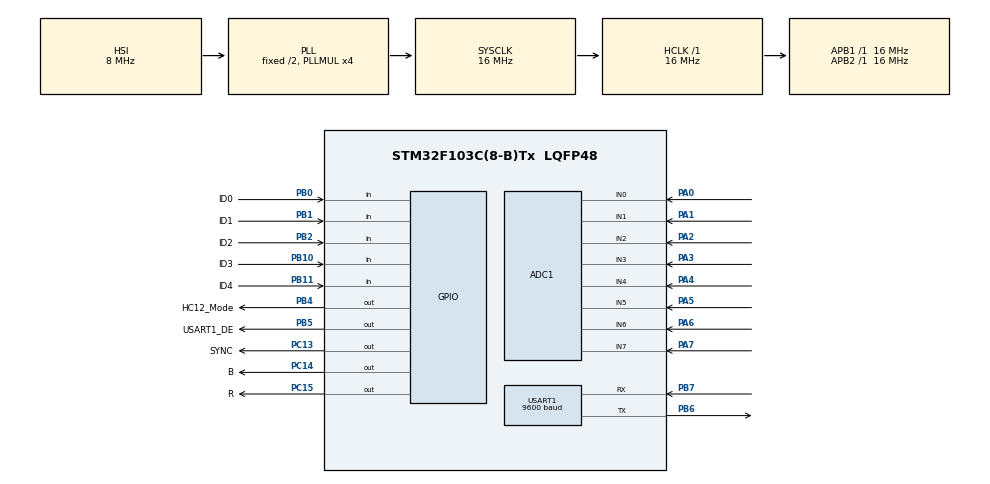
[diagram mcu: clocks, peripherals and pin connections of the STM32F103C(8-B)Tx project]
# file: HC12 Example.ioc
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ADC1.Channel-0\#ChannelRegularConversion=ADC_CHANNEL_0
ADC1.Channel-1\#ChannelRegularConversion=ADC_CHANNEL_1
ADC1.Channel-2\#ChannelRegularConversion=ADC_CHANNEL_2
ADC1.Channel-3\#ChannelRegularConversion=ADC_CHANNEL_3
ADC1.Channel-4\#ChannelRegularConversion=ADC_CHANNEL_4
ADC1.Channel-5\#ChannelRegularConversion=ADC_CHANNEL_5
ADC1.Channel-6\#ChannelRegularConversion=ADC_CHANNEL_6
ADC1.Channel-7\#ChannelRegularConversion=ADC_CHANNEL_7
ADC1.Channel-8\#ChannelRegularConversion=ADC_CHANNEL_TEMPSENSOR
ADC1.Channel-9\#ChannelRegularConversion=ADC_CHANNEL_VREFINT
ADC1.ExternalTrigConv=ADC_EXTERNALTRIGCONV_T3_TRGO
ADC1.NbrOfConversion=10
ADC1.NbrOfConversionFlag=1
ADC1.Rank-0\#ChannelRegularConversion=1
ADC1.Rank-1\#ChannelRegularConversion=2
ADC1.Rank-2\#ChannelRegularConversion=3
ADC1.Rank-3\#ChannelRegularConversion=4
ADC1.Rank-4\#ChannelRegularConversion=5
ADC1.Rank-5\#ChannelRegularConversion=6
ADC1.Rank-6\#ChannelRegularConversion=7
ADC1.Rank-7\#ChannelRegularConversion=8
ADC1.Rank-8\#ChannelRegularConversion=9
ADC1.Rank-9\#ChannelRegularConversion=10
ADC1.SamplingTime-0\#ChannelRegularConversion=ADC_SAMPLETIME_55CYCLES_5
ADC1.SamplingTime-1\#ChannelRegularConversion=ADC_SAMPLETIME_55CYCLES_5
ADC1.SamplingTime-2\#ChannelRegularConversion=ADC_SAMPLETIME_55CYCLES_5
ADC1.SamplingTime-3\#ChannelRegularConversion=ADC_SAMPLETIME_55CYCLES_5
ADC1.SamplingTime-4\#ChannelRegularConversion=ADC_SAMPLETIME_55CYCLES_5
ADC1.SamplingTime-5\#ChannelRegularConversion=ADC_SAMPLETIME_55CYCLES_5
ADC1.SamplingTime-6\#ChannelRegularConversion=ADC_SAMPLETIME_55CYCLES_5
ADC1.SamplingTime-7\#ChannelRegularConversion=ADC_SAMPLETIME_55CYCLES_5
ADC1.SamplingTime-8\#ChannelRegularConversion=ADC_SAMPLETIME_71CYCLES_5
ADC1.SamplingTime-9\#ChannelRegularConversion=ADC_SAMPLETIME_71CYCLES_5
ADC1.master=1
Dma.ADC1.0.Direction=DMA_PERIPH_TO_MEMORY
Dma.ADC1.0.Instance=DMA1_Channel1
Dma.ADC1.0.MemDataAlignment=DMA_MDATAALIGN_HALFWORD
Dma.ADC1.0.MemInc=DMA_MINC_ENABLE
Dma.ADC1.0.Mode=DMA_CIRCULAR
Dma.ADC1.0.PeriphDataAlignment=DMA_PDATAALIGN_HALFWORD
Dma.ADC1.0.PeriphInc=DMA_PINC_DISABLE
Dma.ADC1.0.Priority=DMA_PRIORITY_LOW
Dma.Request0=ADC1
Mcu.Family=STM32F1
Mcu.Name=STM32F103C(8-B)Tx
Mcu.Package=LQFP48
NVIC.DMA1_Channel1_IRQn=true\:6\:0\:true\:false\:true\:false\:true\:true
NVIC.PriorityGroup=NVIC_PRIORITYGROUP_4
NVIC.USART1_IRQn=true\:6\:0\:true\:false\:true\:true\:true\:true
PA0-WKUP.Signal=ADCx_IN0
PA1.Signal=ADCx_IN1
PA13.Mode=Serial_Wire
PA13.Signal=SYS_JTMS-SWDIO
PA14.Mode=Serial_Wire
PA14.Signal=SYS_JTCK-SWCLK
PA2.Signal=ADCx_IN2
PA3.Signal=ADCx_IN3
PA4.Signal=ADCx_IN4
PA5.Signal=ADCx_IN5
PA6.Signal=ADCx_IN6
PA7.Signal=ADCx_IN7
PB0.GPIO_Label=ID0
PB0.GPIO_PuPd=GPIO_PULLUP
PB0.Signal=GPIO_Input
PB1.GPIO_Label=ID1
PB1.GPIO_PuPd=GPIO_PULLUP
PB1.Signal=GPIO_Input
PB10.GPIO_Label=ID3
PB10.GPIO_PuPd=GPIO_PULLUP
PB10.Signal=GPIO_Input
PB11.GPIO_Label=ID4
PB11.GPIO_PuPd=GPIO_PULLUP
PB11.Signal=GPIO_Input
PB2.GPIO_Label=ID2
PB2.GPIO_PuPd=GPIO_PULLUP
PB2.Signal=GPIO_Input
PB4.GPIO_Label=HC12_Mode
PB4.Signal=GPIO_Output
PB5.GPIO_Label=USART1_DE
PB5.Signal=GPIO_Output
PB6.Mode=Asynchronous
PB6.Signal=USART1_TX
PB7.Mode=Asynchronous
PB7.Signal=USART1_RX
PC13-TAMPER-RTC.GPIO_Label=SYNC
PC13-TAMPER-RTC.Signal=GPIO_Output
PC14-OSC32_IN.GPIO_Label=B
PC14-OSC32_IN.Signal=GPIO_Output
PC15-OSC32_OUT.GPIO_Label=R
PC15-OSC32_OUT.Signal=GPIO_Output
PD0-OSC_IN.Mode=HSE-External-Oscillator
PD0-OSC_IN.Signal=RCC_OSC_IN
PD1-OSC_OUT.Mode=HSE-External-Oscillator
PD1-OSC_OUT.Signal=RCC_OSC_OUT
ProjectManager.HeapSize=0x200
ProjectManager.StackSize=0x400
ProjectManager.TargetToolchain=MDK-ARM V5.32
RCC.AHBFreq_Value=16000000
RCC.APB1Freq_Value=16000000
RCC.APB1TimFreq_Value=16000000
RCC.APB2Freq_Value=16000000
RCC.APB2TimFreq_Value=16000000
RCC.HCLKFreq_Value=16000000
RCC.PLLMUL=RCC_PLL_MUL4
RCC.SYSCLKFreq_VALUE=16000000
RCC.SYSCLKSource=RCC_SYSCLKSOURCE_PLLCLK
RCC.USBFreq_Value=16000000
SH.ADCx_IN0.0=ADC1_IN0,IN0
SH.ADCx_IN1.0=ADC1_IN1,IN1
SH.ADCx_IN2.0=ADC1_IN2,IN2
SH.ADCx_IN3.0=ADC1_IN3,IN3
SH.ADCx_IN4.0=ADC1_IN4,IN4
SH.ADCx_IN5.0=ADC1_IN5,IN5
SH.ADCx_IN6.0=ADC1_IN6,IN6
SH.ADCx_IN7.0=ADC1_IN7,IN7
TIM3.Period=10-1
TIM3.Prescaler=16000-1
TIM3.TIM_MasterOutputTrigger=TIM_TRGO_UPDATE
USART1.BaudRate=9600
USART1.VirtualMode=VM_ASYNC
VP_ADC1_TempSens_Input.Mode=IN-TempSens
VP_ADC1_Vref_Input.Mode=IN-Vrefint
VP_TIM3_VS_ClockSourceINT.Mode=Internal
board=custom

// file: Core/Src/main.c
/* USER CODE BEGIN Header */
/**
  ******************************************************************************
  * @file           : main.c
  * @brief          : Main program body
  ******************************************************************************
  * @attention
  *
  * Copyright (c) 2024 STMicroelectronics.
  * All rights reserved.
  *
  * This software is licensed under terms that can be found in the LICENSE file
  * in the root directory of this software component.
  * If no LICENSE file comes with this software, it is provided AS-IS.
  *
  ******************************************************************************
  */
/* USER CODE END Header */
#include "main.h"
#include "adc.h"
#include "dma.h"
#include "tim.h"
#include "usart.h"
#include "gpio.h"

/* USER CODE BEGIN Includes */
#include "config.h"
#include "hc12.h"
#define connFilter 	100
#define btnFilterH 	25
#define btnFilterL 	0
//extern DMA_HandleTypeDef hdma_usart1_rx;
//extern DMA_HandleTypeDef hdma_usart1_tx;
extern UART_HandleTypeDef huart1;

HC12_HandleTypeDef hhc12;

/* USER CODE END Includes */

/* USER CODE BEGIN PTD */
uint16_t adcData[10] = {0,};
volatile message recieve;
volatile message trancieve = {0x01, 0x00, 0x01, 0x00, 0x00, 0x00};
id myID = {0,};
volatile uint8_t newMessage = 0;

uint8_t checkSum = 0;
float VDC = 0;
uint16_t TEMP = 0;

uint8_t ADC_ConvCpltFlag = FALSE;
uint8_t mustSendDataHandle = FALSE;

buttonStateTypeDef stateBtn[8] = {
	UNDEFINE,UNDEFINE,UNDEFINE,UNDEFINE,
	UNDEFINE,UNDEFINE,UNDEFINE,UNDEFINE
};

uint8_t ctrPress[8] = {0,};
uint8_t ctrConnect[8] = {0,};
uint8_t changeBtnState[8] = {0,};
buttonStateTypeDef bufferTransmit[8] = {0,};

/* USER CODE END PTD */

/* USER CODE BEGIN PD */
HC12_StatusTypeDef stausHC12;
uint16_t timeDelayHC12 = 100;
/* USER CODE END PD */

void SystemClock_Config(void);

int main(void)
{
  /* USER CODE BEGIN 1 */
	hhc12.baudRate = B115200;
	hhc12.chanal = C001;
	hhc12.mode = FU3;
	hhc12.power = P20db;

  /* USER CODE END 1 */

  /* MCU Configuration--------------------------------------------------------*/

  /* Reset of all peripherals, Initializes the Flash interface and the Systick. */
  HAL_Init();

  /* Configure the system clock */
  SystemClock_Config();

  /* Initialize all configured peripherals */
  MX_GPIO_Init();
  MX_DMA_Init();
  MX_ADC1_Init();
  MX_TIM3_Init();
  MX_USART1_UART_Init();
  /* USER CODE BEGIN 2 */

	HAL_GPIO_WritePin(USART1_DE_GPIO_Port,USART1_DE_Pin, GPIO_PIN_SET);
	stausHC12 = HC12_Init(&hhc12, &huart1, HC12_Mode_GPIO_Port, HC12_Mode_Pin);
	stausHC12 = HC12_SetEnergyMode(&hhc12, SLEEP, timeDelayHC12);

	//HC12_Init(&hhc12, );

	HAL_ADC_Start_DMA(&hadc1, (uint32_t*)adcData, 10);

	HAL_TIM_Base_Start(&htim3);

	HAL_UARTEx_ReceiveToIdle_IT(&huart1, (uint8_t*)&recieve, sizeof(recieve));
	//__HAL_DMA_DISABLE_IT(&huart1,DMA_IT_HT);

	myID.value.bit0 = !HAL_GPIO_ReadPin(ID0_GPIO_Port, ID0_Pin);
	myID.value.bit1 = !HAL_GPIO_ReadPin(ID1_GPIO_Port, ID1_Pin);
	myID.value.bit2 = !HAL_GPIO_ReadPin(ID2_GPIO_Port, ID2_Pin);
	myID.value.bit3 = !HAL_GPIO_ReadPin(ID3_GPIO_Port, ID3_Pin);
	myID.value.bit4 = !HAL_GPIO_ReadPin(ID4_GPIO_Port, ID4_Pin);
	myID.full == 0  ?  HAL_GPIO_WritePin(R_GPIO_Port,R_Pin,GPIO_PIN_SET) : \
										 HAL_GPIO_WritePin(B_GPIO_Port,B_Pin,GPIO_PIN_SET);
	myID.full == 0  ? myID.full = 1 : myID.full;
	//HAL_GPIO_WritePin(USART1_DE_GPIO_Port,USART1_DE_Pin, GPIO_PIN_SET);

  /* USER CODE END 2 */

  /* Infinite loop */
  /* USER CODE BEGIN WHILE */
  while (1)
  {
		if( ADC_ConvCpltFlag != FALSE ){

			for(uint8_t i = 0; i < 8; i++ ){
				if(adcData[i] > 2100 ){
					ctrConnect[i] = 0;
					ctrPress[i] = ctrPress[i] > btnFilterL ? ctrPress[i]-1 : btnFilterL;
					if (ctrPress[i] == btnFilterL & stateBtn[i] != NOT_PRESSED){
						stateBtn[i] = NOT_PRESSED;
					}
				}

				else if(adcData[i] > 1000){
					ctrConnect[i] = ctrConnect[i] < connFilter ? ctrConnect[i]+1 : connFilter;
					if (ctrConnect[i] == connFilter & stateBtn[i] != NOT_CONNECTED){
						stateBtn[i] = NOT_CONNECTED;
					}
				}
				else{
					ctrPress[i] = ctrPress[i] < btnFilterH ? ctrPress[i]+1 : btnFilterH;
					if (ctrPress[i] == btnFilterH & stateBtn[i] != PRESSED){
						stateBtn[i] = PRESSED;
						changeBtnState[i] = 1;
						newMessage = 1;

						mustSendDataHandle = TRUE;
					}
				}
			}
			VDC = 1.180 * 4095 / adcData[9];
     }

		 	if(mustSendDataHandle == TRUE ){
				uint8_t ctr = 0x0A;

				if(stausHC12 == HC12_SLEEP){

					stausHC12 = HC12_SetEnergyMode(&hhc12, RUN, timeDelayHC12);

				}

				while (newMessage && ctr > 0){

					for(uint8_t i = 0; i < 8; i++ ){
						bufferTransmit[i] = changeBtnState[i] == 1 ? PRESSED : stateBtn[i];
					}

					ctr--;
					uint8_t checkSum = 0;
					trancieve.byte.dataL = 0;
					trancieve.byte.dataH = 0;

					trancieve.byte.source = myID.full;
					trancieve.byte.destination = 0x00;

					for(uint8_t i = 0; i < 4; i++){
						trancieve.byte.dataL += bufferTransmit[i] << i*2;
						trancieve.byte.dataH += bufferTransmit[i+4] << i*2;
					}

					for(uint8_t j = 0; j < 5; j++){
						checkSum +=  trancieve.data[j];
					}
					trancieve.byte.checkSum = (~checkSum)+1;

					HAL_Delay(myID.full*2);
					HAL_GPIO_WritePin(USART1_DE_GPIO_Port, USART1_DE_Pin ,GPIO_PIN_SET);

					while (HAL_UART_Transmit_IT(&huart1, (uint8_t*)&trancieve , sizeof(trancieve)) != HAL_OK);

					HAL_GPIO_TogglePin(SYNC_GPIO_Port,SYNC_Pin);
					HAL_Delay(200);

				}
				mustSendDataHandle = FALSE;
				if (ctr == 0) HAL_GPIO_WritePin(R_GPIO_Port,R_Pin, GPIO_PIN_SET);
				HAL_Delay(1000);
				stausHC12 = HC12_SetEnergyMode(&hhc12, SLEEP, timeDelayHC12);
				HAL_UARTEx_ReceiveToIdle_IT(&huart1, (uint8_t*)&recieve, sizeof(recieve));
			}

    /* USER CODE END WHILE */

  }
}

void SystemClock_Config(void)
{
  RCC_OscInitTypeDef RCC_OscInitStruct = {0};
  RCC_ClkInitTypeDef RCC_ClkInitStruct = {0};
  RCC_PeriphCLKInitTypeDef PeriphClkInit = {0};

  /** Initializes the RCC Oscillators according to the specified parameters
  * in the RCC_OscInitTypeDef structure.
  */
  RCC_OscInitStruct.OscillatorType = RCC_OSCILLATORTYPE_HSI;
  RCC_OscInitStruct.HSIState = RCC_HSI_ON;
  RCC_OscInitStruct.HSICalibrationValue = RCC_HSICALIBRATION_DEFAULT;
  RCC_OscInitStruct.PLL.PLLState = RCC_PLL_ON;
  RCC_OscInitStruct.PLL.PLLSource = RCC_PLLSOURCE_HSI_DIV2;
  RCC_OscInitStruct.PLL.PLLMUL = RCC_PLL_MUL4;
  if (HAL_RCC_OscConfig(&RCC_OscInitStruct) != HAL_OK)
  {
    Error_Handler();
  }

  /** Initializes the CPU, AHB and APB buses clocks
  */
  RCC_ClkInitStruct.ClockType = RCC_CLOCKTYPE_HCLK|RCC_CLOCKTYPE_SYSCLK
                              |RCC_CLOCKTYPE_PCLK1|RCC_CLOCKTYPE_PCLK2;
  RCC_ClkInitStruct.SYSCLKSource = RCC_SYSCLKSOURCE_PLLCLK;
  RCC_ClkInitStruct.AHBCLKDivider = RCC_SYSCLK_DIV1;
  RCC_ClkInitStruct.APB1CLKDivider = RCC_HCLK_DIV1;
  RCC_ClkInitStruct.APB2CLKDivider = RCC_HCLK_DIV1;

  if (HAL_RCC_ClockConfig(&RCC_ClkInitStruct, FLASH_LATENCY_0) != HAL_OK)
  {
    Error_Handler();
  }
  PeriphClkInit.PeriphClockSelection = RCC_PERIPHCLK_ADC;
  PeriphClkInit.AdcClockSelection = RCC_ADCPCLK2_DIV2;
  if (HAL_RCCEx_PeriphCLKConfig(&PeriphClkInit) != HAL_OK)
  {
    Error_Handler();
  }
}

/* USER CODE BEGIN 4 */

void HAL_UARTEx_RxEventCallback(UART_HandleTypeDef *huart, uint16_t Size){
	if(huart->Instance == USART1){
		if (recieve.byte.source == 0x00 & recieve.byte.destination == myID.full){

			 checkSum = 0;

			for(uint8_t i = 0; i < 5; i++){
				checkSum += recieve.data[i];
			}
			checkSum = (~checkSum)+1;

			if(checkSum == recieve.byte.checkSum){
				switch (recieve.byte.id){

					case 0x01:
						newMessage = 0;
						HAL_GPIO_WritePin(R_GPIO_Port,R_Pin, GPIO_PIN_RESET);

						for(uint8_t i = 0; i < 8; i++ ){
							changeBtnState[i] =  NOT_PRESSED;
						}
					break;

					case 0x02:
						newMessage = 1;
						mustSendDataHandle = TRUE;
					break;

					default:
					break;

			  }
			}
		}
//		else if( recieve.data[0] == 'O' && recieve.data[1] == 'K'){
//			 hcStatus = HC12_OK;
//			//hcStatus = HC12_OK;
//		}

			HAL_UARTEx_ReceiveToIdle_IT(&huart1, (uint8_t*)&recieve, sizeof(recieve));
		//__HAL_DMA_DISABLE_IT(&hdma_usart1_rx,DMA_IT_HT);
	}
}

void HAL_UART_TxCpltCallback(UART_HandleTypeDef *huart){
	if(huart->Instance == USART1){
		//HAL_GPIO_WritePin(USART1_DE_GPIO_Port, USART1_DE_Pin, GPIO_PIN_RESET);
	}
}

void HAL_UART_ErrorCallback(UART_HandleTypeDef *huart){
	if(huart->Instance == USART1){
		HAL_UARTEx_ReceiveToIdle_IT(&huart1, (uint8_t*)&recieve, sizeof(recieve));
		//__HAL_DMA_DISABLE_IT(&hdma_usart1_rx,DMA_IT_HT);
	}
}

void HAL_ADC_ErrorCallback(ADC_HandleTypeDef *hadc){
	HAL_ADC_Start_DMA(&hadc1, (uint32_t*)adcData, 10);
}

void HAL_ADC_ConvCpltCallback(ADC_HandleTypeDef* hadc){

	if(hadc->Instance == ADC1){
		ADC_ConvCpltFlag = TRUE;
	}
}

/* USER CODE END 4 */

void Error_Handler(void)
{
  __disable_irq();
  while (1)
  {
  }
}
